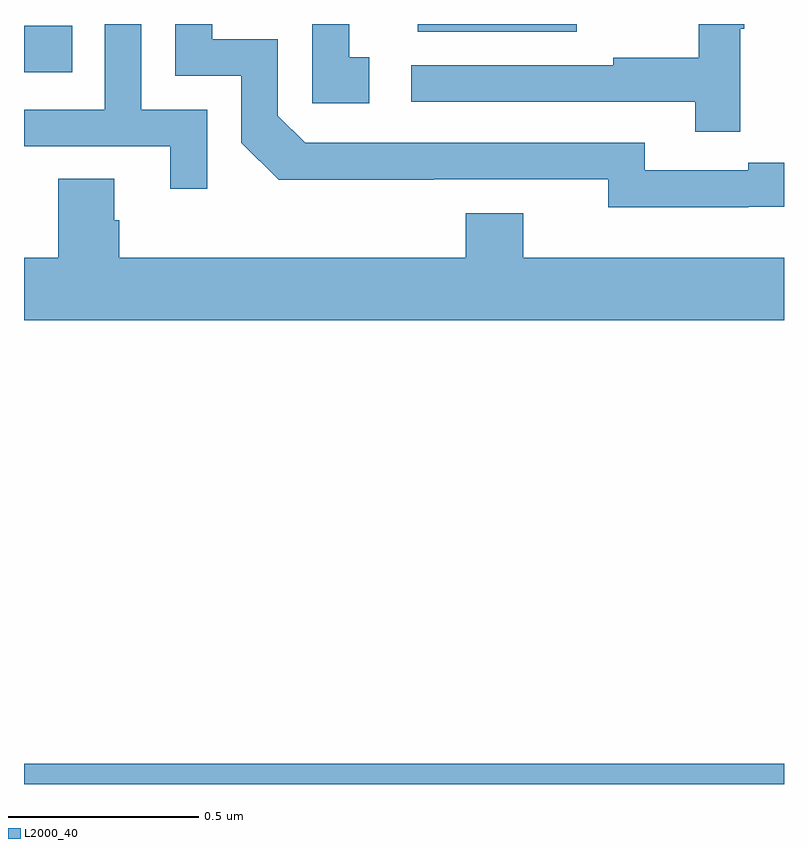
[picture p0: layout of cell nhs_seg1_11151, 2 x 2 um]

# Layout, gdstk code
import gdstk
lib = gdstk.Library(unit=1e-6, precision=1e-09)
def R(c, l, rs):  # rectangles x0, y0, x1, y1
    for r in rs: c.add(gdstk.rectangle(r[:2], r[2:], *l))
def P(c, l, *ps):  # polygons
    for p in ps: c.add(gdstk.Polygon(p, *l))
L2000_40 = (2000, 40)

nhs_seg1_11151 = lib.new_cell('nhs_seg1_11151')
R(nhs_seg1_11151, L2000_40, [(250,529.199,252,529.252), (250,531.072,250.127,531.195), (251.036,531.179,251.455,531.199)])
P(nhs_seg1_11151, L2000_40, [(250.909,531.111),(250.856,531.111),(250.856,531.199),(250.758,531.199),(250.758,530.991),(250.909,530.991)],
  [(251.885,531.187),(251.896,531.187),(251.896,531.199),(251.775,531.199),(251.775,531.11),(251.551,531.11),(251.551,531.09),(251.019,531.09),(251.019,530.994),(251.767,530.994),(251.767,530.916),(251.885,530.916)],
  [(251.906,530.718),(252,530.718),(252,530.834),(251.906,530.834),(251.906,530.814),(251.634,530.814),(251.634,530.886),(250.74,530.886),(250.668,530.958),(250.668,531.159),(250.495,531.159),(250.495,531.199),(250.398,531.199),(250.398,531.063),(250.572,531.063),(250.572,530.886),(250.67,530.789),(251.078,530.789),(251.078,530.79),(251.538,530.79),(251.538,530.717),(251.906,530.717)],
  [(250.482,530.973),(250.308,530.973),(250.308,531.199),(250.212,531.199),(250.212,530.973),(250,530.973),(250,530.877),(250.385,530.877),(250.385,530.766),(250.482,530.766)],
  [(251.162,530.701),(251.162,530.584),(250.25,530.584),(250.25,530.682),(250.237,530.682),(250.237,530.792),(250.09,530.792),(250.09,530.584),(250,530.584),(250,530.42),(252,530.42),(252,530.584),(251.314,530.584),(251.314,530.701)])

lib.write_gds('nhs_seg1_11151.gds')
